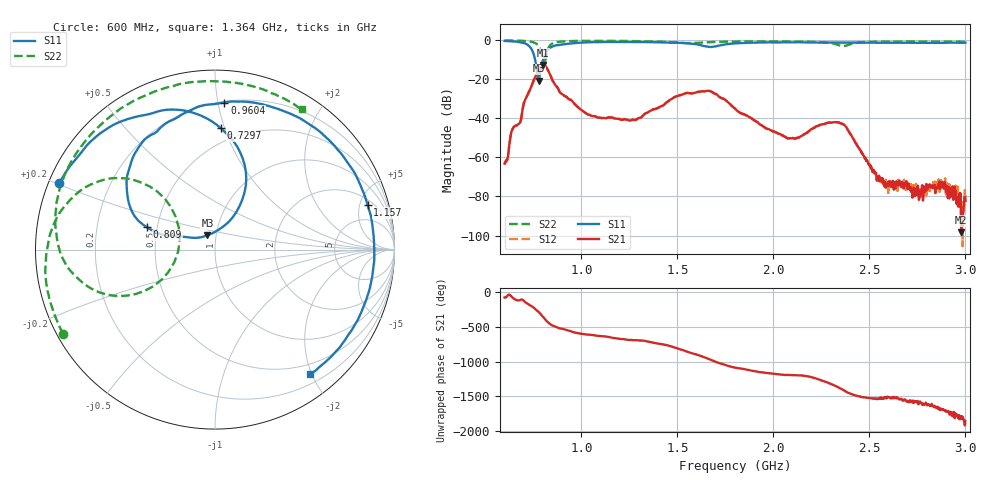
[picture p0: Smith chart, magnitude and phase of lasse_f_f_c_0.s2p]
#  HZ  S  RI  R  50.00
! Rohde & Schwarz ZVB8 2Ports - Version 2.81 - 1145.1010k08 SN: 100113
! Date: 2016-05-04 02:50:06
! Measurements: S11 S21 S12 S22
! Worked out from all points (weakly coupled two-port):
!   1000 points, 600 MHz to 3 GHz, reference 50 ohm
!   highest |S21| = -12.87 dB at 801.8 MHz (marker M1); lowest = -98.3 dB at 2.978 GHz (marker M2)
!   lowest |S11| = -20.9 dB at 777.8 MHz (marker M3), VSWR 1.20, Z = 45.4 + j7.27 ohm
!   |S11| at or under -10 dB: 758.5 MHz to 801.7 MHz (43.19 MHz wide, 5.54 % of centre)
!   |S22| runs from -13.8 to -0.3 dB; largest |S21 - S12| = 0.0035
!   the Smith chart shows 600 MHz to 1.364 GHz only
!   S11 on the Smith chart (normalised r, x): 600 MHz: 0.03, +0.20; 729.7 MHz: 0.39, +0.97; 809 MHz: 0.44, +0.13; 960.4 MHz: 0.21, +1.04; 1.157 GHz: 2.55, +5.88; 1.364 GHz: 0.33, -1.98
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6e8  -0.8668 0.3698  0.000109 -0.000681  4.35e-05 -0.000662  -0.8469 -0.469
6.408408e8  -0.7168 0.5769  0.000792 -0.00527  0.000874 -0.00512  -0.9124 -0.3081
7.297297e8  0.0316 0.677  -0.0502 0.0068  -0.0503 0.00591  -0.9043 0.1261
7.777778e8  -0.0422 0.0794  0.0572 0.1554  0.0563 0.1563  -0.5729 0.3981
8.018018e8  -0.3054 0.0873  0.2266 -0.0175  0.227 -0.0149  -0.2017 0.1221
8.09009e8  -0.3786 0.1244  0.1942 -0.1053  0.1946 -0.1043  -0.2263 -0.0696
8.594595e8  -0.4269 0.5672  -0.0535 -0.0544  -0.0531 -0.0546  -0.849 -0.0482
9.603604e8  0.0524 0.8193  -0.0184 0.0158  -0.0185 0.0157  -0.8197 0.4557
1.001201e9  0.277 0.8062  -0.00751 0.0141  -0.00765 0.0142  -0.7292 0.5962
1.157357e9  0.8497 0.2491  0.00477 0.00927  0.00476 0.00917  -0.2542 0.9076
1.363964e9  0.5317 -0.695  0.0158 -0.000757  0.0158 -0.000825  0.4844 0.7809
1.4e9  0.3796 -0.7819  0.0171 -0.00698  0.0171 -0.00688  0.5925 0.6889
1.659459e9  -0.4864 -0.4587  -0.0252 0.0432  -0.0257 0.0432  0.8653 -0.0807
1.801201e9  -0.7774 -0.2529  0.0172 -0.00262  0.0171 -0.00245  0.7043 -0.5744
2.077477e9  -0.4796 0.7223  -0.00119 -0.0028  -0.00119 -0.00276  -0.1448 -0.8986
2.2e9  0.000846 0.8559  -0.00441 -0.00285  -0.0044 -0.00297  -0.4938 -0.7496
2.365766e9  0.6179 0.5884  0.00605 0.00328  0.00597 0.00334  -0.573 -0.3937
2.601201e9  0.7608 -0.3726  8.01e-05 -0.000231  -5.69e-05 -0.000184  -0.9082 -0.024
2.786186e9  0.1827 -0.8207  -0.000175 1.29e-05  -0.000196 -3.03e-05  -0.812 0.3982
2.865465e9  -0.107 -0.8324  -0.000133 0.000202  -9.51e-05 8.88e-05  -0.7213 0.5462
2.978378e9  -0.4946 -0.688  1.15e-05 -3.92e-06  6.21e-05 -1.86e-05  -0.5359 0.7202
3e9  -0.5558 -0.6377  4.5e-05 -6.22e-05  5.42e-05 -5.45e-05  -0.4939 0.7504
